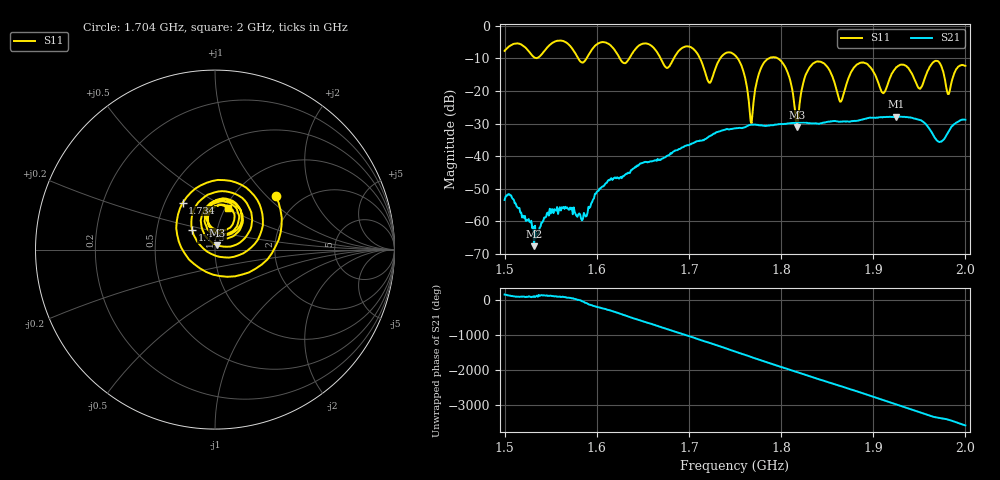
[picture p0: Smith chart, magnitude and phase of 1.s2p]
! NanoVNA-App by SYSJOINT et al v1.1.209 (+OD18)
! Date: 2026-01-21 14:52:27
! Start: 1,5GHz Stop: 2GHz Points: 501
! S-Parameter data: F S11 S21 S12 S22
# Hz S RI R 50
!  Frequency  S11_Real  S11_Imag  S21_Real  S21_Imag  S12_Real  S12_Imag  S22_Real  S22_Imag
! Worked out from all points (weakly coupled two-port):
!   501 points, 1.5 GHz to 2 GHz, reference 50 ohm
!   highest |S21| = -27.85 dB at 1.925 GHz (marker M1); lowest = -67.7 dB at 1.532 GHz (marker M2)
!   lowest |S11| = -31.2 dB at 1.817 GHz (marker M3), VSWR 1.06, Z = 51.3 + j2.49 ohm
!   |S11| at or under -10 dB: 1.712 GHz to 1.734 GHz (21.87 MHz wide, 1.27 % of centre); 1.753 GHz to 1.787 GHz (33.68 MHz wide, 1.9 % of centre); 1.797 GHz to end of sweep (the widest 3 of 6)
!   S12 and S22 are empty: the file has one direction only
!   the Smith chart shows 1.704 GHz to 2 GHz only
!   S11 on the Smith chart (normalised r, x): 1.704 GHz: 1.51, +1.13; 1.734 GHz: 0.62, +0.36; 1.775 GHz: 0.76, +0.17; 2 GHz: 1.03, +0.51
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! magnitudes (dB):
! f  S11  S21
! 1.5 GHz  -7.7  -53.5
! 1.532 GHz  -9.7  -67.7
! 1.561 GHz  -4.5  -56.7
! 1.584 GHz  -11.2  -59.8
! 1.667 GHz  -8.8  -41.2
! 1.704 GHz  -6.9  -36.1
! 1.722 GHz  -17.5  -33.9
! 1.734 GHz  -10.0  -32.4
! 1.75 GHz  -9.0  -31.5
! 1.767 GHz  -29.3  -30.4
! 1.775 GHz  -15.6  -30.4
! 1.8 GHz  -10.8  -30.1
! 1.817 GHz  -31.2  -29.8
! 1.834 GHz  -11.7  -30.0
! 1.864 GHz  -23.3  -29.4
! 1.885 GHz  -11.5  -29.0
! 1.917 GHz  -16.9  -27.9
! 1.925 GHz  -12.7  -27.9
! 1.951 GHz  -19.3  -28.9
! 1.97 GHz  -10.8  -35.4
! 1.981 GHz  -20.9  -32.9
! 2 GHz  -12.3  -28.8
